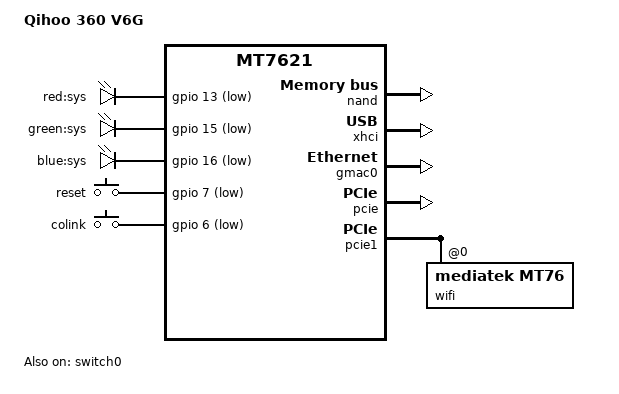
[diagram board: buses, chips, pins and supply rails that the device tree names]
// SPDX-License-Identifier: GPL-2.0-or-later OR MIT

#include "mt7621.dtsi"

#include <dt-bindings/gpio/gpio.h>
#include <dt-bindings/input/input.h>

/ {
	compatible = "qihoo,360t6gs", "mediatek,mt7621-soc";
	model = "Qihoo 360 V6G";

	aliases {
		/* Official LED semantics (LYQV6G manual):
		 * red blinking = booting / upgrading
		 * red solid    = no internet access
		 * green solid  = internet access OK (switched by v6g-led service)
		 */
		led-boot = &led_sys_red;
		led-failsafe = &led_sys_red;
		led-running = &led_sys_red;
		led-upgrade = &led_sys_red;
	};

	chosen {
		bootargs = "console=ttyS0,115200";
	};

	leds {
		compatible = "gpio-leds";

		led_sys_red: led-red {
			label = "red:sys";
			gpios = <&gpio 13 GPIO_ACTIVE_LOW>;
		};

		led_sys_green: led-green {
			label = "green:sys";
			gpios = <&gpio 15 GPIO_ACTIVE_LOW>;
		};

		led_sys_blue: led-blue {
			label = "blue:sys";
			gpios = <&gpio 16 GPIO_ACTIVE_LOW>;
		};
	};

	keys {
		compatible = "gpio-keys-polled";

		poll-interval = <20>;

		reset {
			label = "reset";
			linux,code = <KEY_RESTART>;
			gpios = <&gpio 7 GPIO_ACTIVE_LOW>;
		};

		colink {
			label = "colink";
			linux,code = <KEY_WPS_BUTTON>;
			gpios = <&gpio 6 GPIO_ACTIVE_LOW>;
		};
	};
};

&nand {
	status = "okay";

	partitions {
		compatible = "fixed-partitions";
		#address-cells = <1>;
		#size-cells = <1>;

		partition@0 {
			label = "u-boot";
			reg = <0x0 0x80000>;
			read-only;
		};

		partition@80000 {
			label = "u-boot-env";
			reg = <0x80000 0x40000>;
		};

		partition@c0000 {
			label = "factory";
			reg = <0xc0000 0x40000>;
			read-only;

			nvmem-layout {
				compatible = "fixed-layout";
				#address-cells = <1>;
				#size-cells = <1>;

				eeprom_factory_0: eeprom@0 {
					reg = <0x0 0xe00>;
				};
			};
		};

		/* Stock bootloader-era data partitions (Config, config, factory2,
		 * plugin 36MiB, log 4MiB) merged into one bare 41MiB "storage"
		 * block, deliberately NOT mounted by OpenWrt. Opened up for future
		 * use: manual jffs2 / kernel-copy target, or a second factory
		 * image. Everything stock-only is gone; the layout after 0x2a00000
		 * is V6G OpenWrt owned end-to-end. */
		partition@100000 {
			label = "storage";
			reg = <0x100000 0x2900000>;
		};

		/* firmware spans straight to the end of the 128MiB flash. The
		 * kernel child stays at absolute offset 0x2a00000, which is
		 * DragonBluep U-Boot's built-in CONFIG_DEFAULT_NAND_KERNEL_OFFSET,
		 * so every boot path (mtkautoboot + web failsafe + TFTP recovery)
		 * keeps working byte-for-byte. The ubi child grows to 82MiB and
		 * rootfs_data autoresize turns that into ~75MiB writable overlay. */
		firmware: partition@2a00000 {
			label = "firmware";
			reg = <0x2a00000 0x5600000>;

			compatible = "fixed-partitions";
			partition@0 {
				label = "kernel";
				reg = <0x0 0x400000>;
			};

			partition@400000 {
				label = "ubi";
				reg = <0x400000 0x5200000>;
			};
		};
	};
};

&state_default {
	gpio {
		groups = "jtag", "uart3", "wdt";
		function = "gpio";
	};
};

&xhci {
	status = "okay";
};

&gmac0 {
	status = "okay";
};

&switch0 {
	status = "okay";

	/* Measured on the real V6G (RAM image, cable moved jack by jack):
	 *   the two LAN jacks are switch port1 and port2, the WAN jack is port3.
	 *   port1 = lan1, port2 = lan2, port3 = wan; port0 and port4 are not wired
	 *   (port0/port4 belong to the 360T6GS portmap "lllwl" which shares this
	 *   SoC, the V6G chassis only has three jacks). */
	ports {
		port@0 {
			status = "disabled";
		};

		port@1 {
			status = "okay";
			label = "lan1";
		};

		port@2 {
			status = "okay";
			label = "lan2";
		};

		port@3 {
			status = "okay";
			label = "wan";
		};
	};
};

&ethphy3 {
	/delete-property/ interrupts;
};

&pcie {
	/* mt7621.dtsi ships this controller disabled, so the MT7915 on the bus
	 * was never enumerated in round 7. The dtsi already carries
	 *	pinctrl-0 = <&pcie_pins>;  (group "pcie" muxed to gpio)
	 *	reset-gpios = <&gpio 19 GPIO_ACTIVE_LOW>;
	 * which matches the stock V6G DTB, so only the status needs flipping. */
	status = "okay";
};

&pcie1 {
	wifi@0,0 {
		compatible = "mediatek,mt76";
		reg = <0x0000 0 0 0 0>;
		nvmem-cells = <&eeprom_factory_0>;
		nvmem-cell-names = "eeprom";
		mediatek,disable-radar-background;
	};
};
